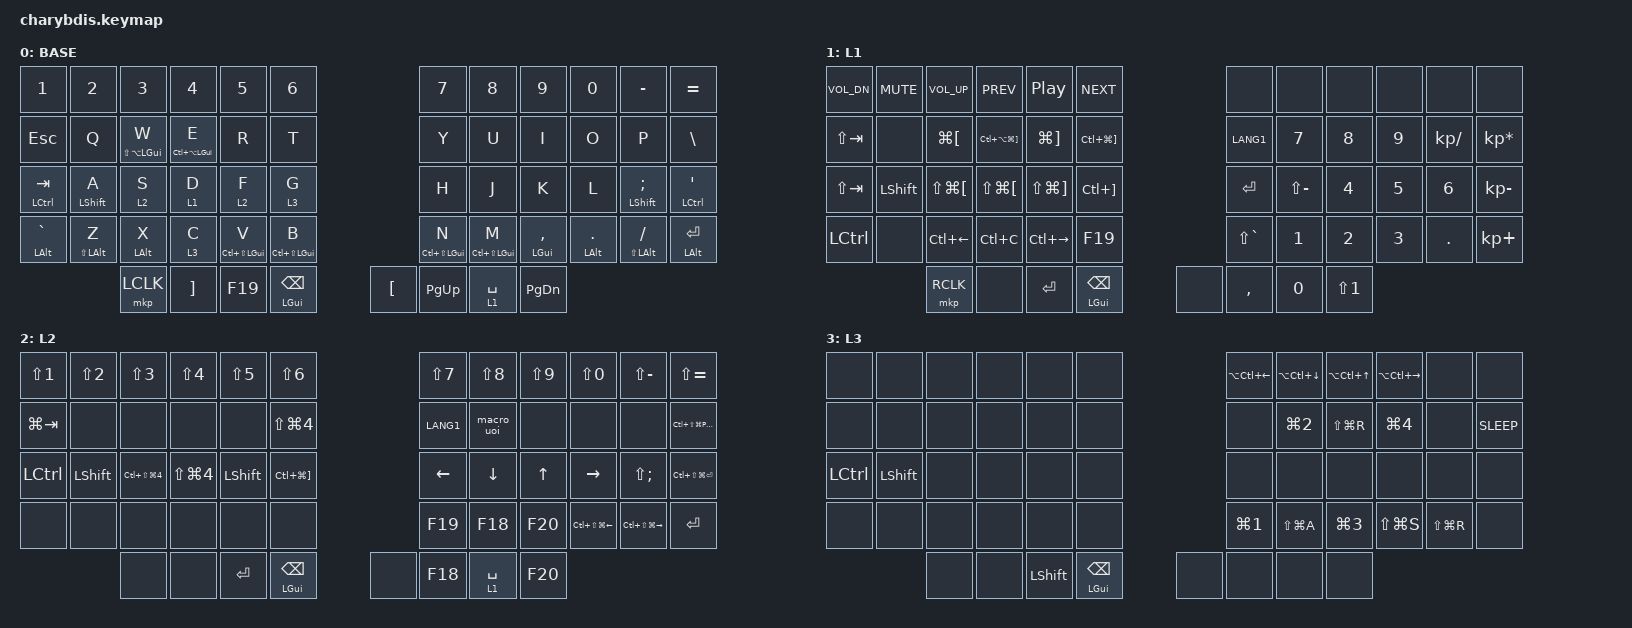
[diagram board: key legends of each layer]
/*
 * Charybdis ZMK Keymap - Converted from VIA layout
 *
 * VIA layout 가정: 4x6 + 5+3 thumb (active keys)
 * Right side는 VIA에서 outer→inner 순서로 저장되어 있어 ZMK용으로 reverse 적용
 *
 * 호환 안 되는 키들 (모두 &none 처리됨):
 *   - CUSTOM(0~3): 트랙볼 DPI 조절 (Layer 3) — ZMK는 zip_xy_scaler 정적 설정
 *   - CUSTOM(6): Sniping 토글 (Layer 3) — ZMK는 별도 레이어로 처리
 *   - KC_MS_ACCEL0/1/2: 마우스 가속 단계 (Layer 3) — ZMK는 mmv 설정 사용
 *
 * 부분 호환:
 *   - KC_HAEN: 한영키 → &kp LANG1 (작동 안 하면 INT5 등 시도 필요)
 *
 * Hold-tap 파라미터: macOS 친화적으로 설정 (tap-preferred + require-prior-idle-ms)
 */

#include <dt-bindings/zmk/mouse.h>
#include <behaviors.dtsi>
#include <dt-bindings/zmk/bt.h>
#include <dt-bindings/zmk/keys.h>
#include <dt-bindings/zmk/outputs.h>
#include <dt-bindings/zmk/pointing.h>

// macOS 친화적 hold-tap 설정 (stuck 방지)
&mt {
    flavor = "tap-preferred";
    tapping-term-ms = <200>;
    quick-tap-ms = <175>;
    require-prior-idle-ms = <150>;
};

&lt {
    flavor = "tap-preferred";
    tapping-term-ms = <200>;
    quick-tap-ms = <175>;
    require-prior-idle-ms = <150>;
};

/ {
    behaviors {
        // VIA의 multi-modifier MT() 변환용 custom hold-tap
        // 예: MT(MOD_LSFT|MOD_LALT|MOD_LGUI, KC_W) → &mtm LS(LA(LGUI)) W
        mtm: mod_tap_multi {
            compatible = "zmk,behavior-hold-tap";
            #binding-cells = <2>;
            bindings = <&kp>, <&kp>;
            flavor = "tap-preferred";
            tapping-term-ms = <200>;
            quick-tap-ms = <175>;
            require-prior-idle-ms = <150>;
        };
    };

    macros {
        // VIA MACRO(0): U → 200ms → O → 100ms → I
        macro_uoi: macro_uoi {
            compatible = "zmk,behavior-macro";
            #binding-cells = <0>;
            bindings
                = <&macro_tap &kp U>
                , <&macro_wait_time 200>
                , <&macro_tap &kp O>
                , <&macro_wait_time 100>
                , <&macro_tap &kp I>
                ;
        };

        // VIA MACRO(1): 2 → 200ms → SPACE  (현재 keymap에서 사용 안 됨)
        macro_2sp: macro_2sp {
            compatible = "zmk,behavior-macro";
            #binding-cells = <0>;
            bindings
                = <&macro_tap &kp N2>
                , <&macro_wait_time 200>
                , <&macro_tap &kp SPACE>
                ;
        };
    };

    keymap {
        compatible = "zmk,keymap";

        // ===========================================================================
        // Layer 0 (BASE) - 홈로우 모드 + Hyper 키 매핑
        // ===========================================================================
        layer_0 {
            label = "BASE";
            bindings = <
// ╭───────────────┬───────────────┬───────────────┬───────────────┬───────────────┬───────────────╮   ╭───────────────┬───────────────┬───────────────┬───────────────┬───────────────┬───────────────╮
&kp N1              &kp N2          &kp N3          &kp N4          &kp N5          &kp N6                                                                  &kp N7          &kp N8          &kp N9          &kp N0          &kp MINUS       &kp EQUAL
// ├───────────────┼───────────────┼───────────────┼───────────────┼───────────────┼───────────────┤   ├───────────────┼───────────────┼───────────────┼───────────────┼───────────────┼───────────────┤
&kp ESC             &kp Q           &mtm LS(LA(LGUI)) W  &mtm LC(LA(LGUI)) E  &kp R           &kp T                                                          &kp Y           &kp U           &kp I           &kp O           &kp P           &kp BSLH
// ├───────────────┼───────────────┼───────────────┼───────────────┼───────────────┼───────────────┤   ├───────────────┼───────────────┼───────────────┼───────────────┼───────────────┼───────────────┤
&mt LCTRL TAB       &mt LSHIFT A    &lt 2 S         &lt 1 D         &lt 2 F         &lt 3 G                                                                  &kp H           &kp J           &kp K           &kp L           &mt LSHIFT SEMI &mt LCTRL SQT
// ├───────────────┼───────────────┼───────────────┼───────────────┼───────────────┼───────────────┤   ├───────────────┼───────────────┼───────────────┼───────────────┼───────────────┼───────────────┤
&mt LALT GRAVE      &mtm LS(LALT) Z &mt LALT X      &lt 3 C         &mtm LC(LS(LGUI)) V  &mtm LC(LS(LGUI)) B                                                  &mtm LC(LS(LGUI)) N  &mtm LC(LS(LGUI)) M  &mt LGUI COMMA  &mt LALT DOT    &mtm LS(LALT) FSLH  &mt LALT RET
// ╰───────────────┴───────────────┴───────────────┴───────────────┴───────────────┴───────────────╯   ╰───────────────┴───────────────┴───────────────┴───────────────┴───────────────┴───────────────╯
                                    &mkp LCLK       &kp RBKT        &kp F19         &mt LGUI BSPC   &kp LBKT                                                   &kp PG_UP       &lt 1 SPACE     &kp PG_DN
            >;
        };

        // ===========================================================================
        // Layer 1 - 미디어/네비게이션/숫자 패드
        // ===========================================================================
        layer_1 {
            label = "L1";
            bindings = <
// ╭───────────────┬───────────────┬───────────────┬───────────────┬───────────────┬───────────────╮   ╭───────────────┬───────────────┬───────────────┬───────────────┬───────────────┬───────────────╮
&kp C_VOL_DN        &kp C_MUTE      &kp C_VOL_UP    &kp C_PREV      &kp C_PP        &kp C_NEXT                                                              &none           &none           &none           &none           &none           &none
// ├───────────────┼───────────────┼───────────────┼───────────────┼───────────────┼───────────────┤   ├───────────────┼───────────────┼───────────────┼───────────────┼───────────────┼───────────────┤
&kp LS(TAB)         &none           &kp LG(LBKT)    &kp LC(LA(LG(RBKT)))  &kp LG(RBKT)    &kp LC(LG(RBKT))                                                   &kp LANG1       &kp N7          &kp N8          &kp N9          &kp KP_DIVIDE   &kp KP_MULTIPLY
// ├───────────────┼───────────────┼───────────────┼───────────────┼───────────────┼───────────────┤   ├───────────────┼───────────────┼───────────────┼───────────────┼───────────────┼───────────────┤
&kp LS(TAB)         &kp LSHIFT      &kp LS(LG(LBKT))  &kp LS(LG(LBKT))  &kp LS(LG(RBKT))  &kp LC(RBKT)                                                       &kp RET         &kp LS(MINUS)   &kp N4          &kp N5          &kp N6          &kp KP_MINUS
// ├───────────────┼───────────────┼───────────────┼───────────────┼───────────────┼───────────────┤   ├───────────────┼───────────────┼───────────────┼───────────────┼───────────────┼───────────────┤
&kp LCTRL           &none           &kp LC(LEFT)    &kp LC(C)       &kp LC(RIGHT)   &kp F19                                                                  &kp LS(GRAVE)   &kp N1          &kp N2          &kp N3          &kp DOT         &kp KP_PLUS
// ╰───────────────┴───────────────┴───────────────┴───────────────┴───────────────┴───────────────╯   ╰───────────────┴───────────────┴───────────────┴───────────────┴───────────────┴───────────────╯
                                    &mkp RCLK       &none           &kp RET         &mt LGUI BSPC   &none                                                     &kp COMMA       &kp N0          &kp LS(N1)
            >;
        };

        // ===========================================================================
        // Layer 2 - 심볼/네비게이션/매크로
        // ===========================================================================
        layer_2 {
            label = "L2";
            bindings = <
// ╭───────────────┬───────────────┬───────────────┬───────────────┬───────────────┬───────────────╮   ╭───────────────┬───────────────┬───────────────┬───────────────┬───────────────┬───────────────╮
&kp LS(N1)          &kp LS(N2)      &kp LS(N3)      &kp LS(N4)      &kp LS(N5)      &kp LS(N6)                                                              &kp LS(N7)      &kp LS(N8)      &kp LS(N9)      &kp LS(N0)      &kp LS(MINUS)   &kp LS(EQUAL)
// ├───────────────┼───────────────┼───────────────┼───────────────┼───────────────┼───────────────┤   ├───────────────┼───────────────┼───────────────┼───────────────┼───────────────┼───────────────┤
&kp LG(TAB)         &none           &none           &none           &none           &kp LS(LG(N4))                                                          &kp LANG1       &macro_uoi      &none           &none           &none           &kp LC(LS(LG(PG_DN)))
// ├───────────────┼───────────────┼───────────────┼───────────────┼───────────────┼───────────────┤   ├───────────────┼───────────────┼───────────────┼───────────────┼───────────────┼───────────────┤
&kp LCTRL           &kp LSHIFT      &kp LC(LS(LG(N4)))  &kp LS(LG(N4))  &kp LSHIFT      &kp LC(LG(RBKT))                                                    &kp LEFT        &kp DOWN        &kp UP          &kp RIGHT       &kp LS(SEMI)    &kp LC(LS(LG(RET)))
// ├───────────────┼───────────────┼───────────────┼───────────────┼───────────────┼───────────────┤   ├───────────────┼───────────────┼───────────────┼───────────────┼───────────────┼───────────────┤
&none               &none           &none           &none           &none           &none                                                                    &kp F19         &kp F18         &kp F20         &kp LC(LS(LG(LEFT)))  &kp LC(LS(LG(RIGHT)))  &kp RET
// ╰───────────────┴───────────────┴───────────────┴───────────────┴───────────────┴───────────────╯   ╰───────────────┴───────────────┴───────────────┴───────────────┴───────────────┴───────────────╯
                                    &none           &none           &kp RET         &mt LGUI BSPC   &none                                                     &kp F18         &lt 1 SPACE     &kp F20
            >;
        };

        // ===========================================================================
        // Layer 3 - 트랙볼 컨트롤 / 시스템 (CUSTOM 키들은 ZMK 미지원)
        // ===========================================================================
        // 호환 안 되는 키들이 모두 이 레이어에 있음:
        //   CUSTOM(0~3): DPI 조절 → ZMK는 zip_xy_scaler 정적 설정으로 대체 (변경 불가)
        //   CUSTOM(6): Sniping toggle → ZMK는 별도 레이어로 처리
        //   KC_MS_ACCEL0/1/2: 마우스 가속 단계 → ZMK는 mmv 설정으로 처리
        // 모두 &none 처리.
        layer_3 {
            label = "L3";
            bindings = <
// ╭───────────────┬───────────────┬───────────────┬───────────────┬───────────────┬───────────────╮   ╭───────────────┬───────────────┬───────────────┬───────────────┬───────────────┬───────────────╮
&none               &none           &none           &none           &none           &none                                                                    &kp LA(LC(LEFT))  &kp LA(LC(DOWN))  &kp LA(LC(UP))  &kp LA(LC(RIGHT))  &none           &none
// ├───────────────┼───────────────┼───────────────┼───────────────┼───────────────┼───────────────┤   ├───────────────┼───────────────┼───────────────┼───────────────┼───────────────┼───────────────┤
&none               &none           &none           &none           &none           &none                                                                    &none           &kp LG(N2)      &kp LS(LG(R))   &kp LG(N4)      &none           &kp C_SLEEP
// ├───────────────┼───────────────┼───────────────┼───────────────┼───────────────┼───────────────┤   ├───────────────┼───────────────┼───────────────┼───────────────┼───────────────┼───────────────┤
&kp LCTRL           &kp LSHIFT      &none           &none           &none           &none                                                                    &none           &none           &none           &none           &none           &none
// ├───────────────┼───────────────┼───────────────┼───────────────┼───────────────┼───────────────┤   ├───────────────┼───────────────┼───────────────┼───────────────┼───────────────┼───────────────┤
&none               &none           &none           &none           &none           &none                                                                    &kp LG(N1)      &kp LS(LG(A))   &kp LG(N3)      &kp LS(LG(S))   &kp LS(LG(R))   &none
// ╰───────────────┴───────────────┴───────────────┴───────────────┴───────────────┴───────────────╯   ╰───────────────┴───────────────┴───────────────┴───────────────┴───────────────┴───────────────╯
                                    &none           &none           &kp LSHIFT      &mt LGUI BSPC   &none                                                     &none           &none           &none
            >;
        };
    };
};
